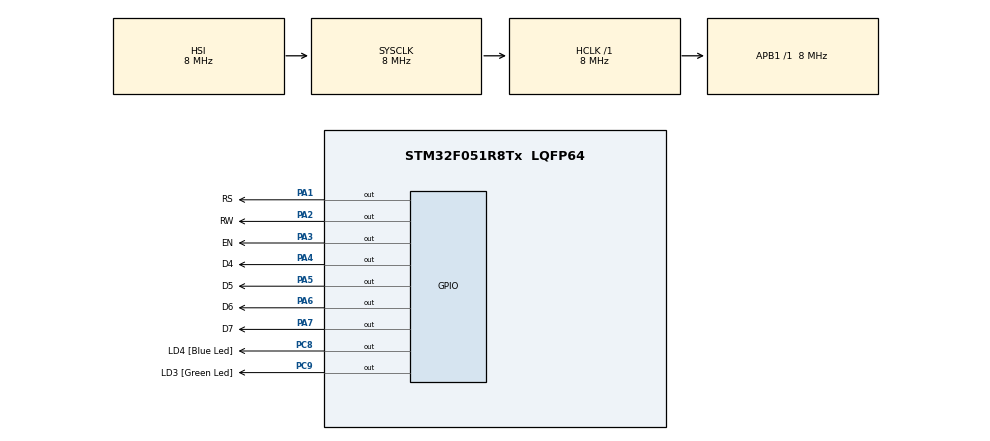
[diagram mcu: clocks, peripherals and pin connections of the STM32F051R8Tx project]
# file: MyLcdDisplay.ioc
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Mcu.Family=STM32F0
Mcu.Name=STM32F051R8Tx
Mcu.Package=LQFP64
PA1.GPIO_Label=RS
PA1.Signal=GPIO_Output
PA13.GPIO_Label=SWDIO
PA13.Signal=SYS_SWDIO
PA14.GPIO_Label=SWCLK
PA14.Signal=SYS_SWCLK
PA2.GPIO_Label=RW
PA2.Signal=GPIO_Output
PA3.GPIO_Label=EN
PA3.Signal=GPIO_Output
PA4.GPIO_Label=D4
PA4.Signal=GPIO_Output
PA5.GPIO_Label=D5
PA5.Signal=GPIO_Output
PA6.GPIO_Label=D6
PA6.Signal=GPIO_Output
PA7.GPIO_Label=D7
PA7.Signal=GPIO_Output
PC8.GPIO_Label=LD4 [Blue Led]
PC8.Signal=GPIO_Output
PC9.GPIO_Label=LD3 [Green Led]
PC9.Signal=GPIO_Output
ProjectManager.HeapSize=0x200
ProjectManager.StackSize=0x400
ProjectManager.TargetToolchain=STM32CubeIDE
RCC.AHBFreq_Value=8000000
RCC.APB1Freq_Value=8000000
RCC.APB1TimFreq_Value=8000000
RCC.HCLKFreq_Value=8000000
RCC.PLLMUL=RCC_PLL_MUL12
RCC.SYSCLKFreq_VALUE=8000000
TIM1.Prescaler=8000
VP_TIM1_VS_ClockSourceINT.Mode=Internal
board=STM32F0DISCOVERY

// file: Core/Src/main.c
/* USER CODE BEGIN Header */
/**
  ******************************************************************************
  * @file           : main.c
  * @brief          : Main program body
  ******************************************************************************
  * @attention
  *
  * <h2><center>&copy; Copyright (c) 2023 STMicroelectronics.
  * All rights reserved.</center></h2>
  *
  * This software component is licensed by ST under BSD 3-Clause license,
  * the "License"; You may not use this file except in compliance with the
  * License. You may obtain a copy of the License at:
  *                        opensource.org/licenses/BSD-3-Clause
  *
  ******************************************************************************
  */
/* USER CODE END Header */
#include "main.h"

/* USER CODE BEGIN PTD */
#define RS_PORT GPIOA
#define RS_PIN GPIO_PIN_1
#define RW_PORT GPIOA
#define RW_PIN GPIO_PIN_2
#define EN_PORT GPIOA
#define EN_PIN GPIO_PIN_3
#define D4_PORT GPIOA
#define D4_PIN GPIO_PIN_4
#define D5_PORT GPIOA
#define D5_PIN GPIO_PIN_5
#define D6_PORT GPIOA
#define D6_PIN GPIO_PIN_6
#define D7_PORT GPIOA
#define D7_PIN GPIO_PIN_7
/* USER CODE END PTD */

TIM_HandleTypeDef htim1;

void SystemClock_Config(void);
static void MX_GPIO_Init(void);
static void MX_TIM1_Init(void);
/* USER CODE BEGIN PFP */
#define timer htim1
extern TIM_HandleTypeDef timer;
void delay (uint16_t us)
{
  __HAL_TIM_SET_COUNTER(&timer, 0);
  while (__HAL_TIM_GET_COUNTER(&timer) < us);
}

void send_to_lcd (char data, int rs)
{
    HAL_GPIO_WritePin(RS_GPIO_Port, RS_Pin, rs);  // rs = 1 for data, rs=0 for command
    /* write the data to the respective pin */
    HAL_GPIO_WritePin(D7_GPIO_Port, D7_Pin, ((data>>3)&0x01));
    HAL_GPIO_WritePin(D6_GPIO_Port, D6_Pin, ((data>>2)&0x01));
    HAL_GPIO_WritePin(D5_GPIO_Port, D5_Pin, ((data>>1)&0x01));
    HAL_GPIO_WritePin(D4_GPIO_Port, D4_Pin, ((data>>0)&0x01));
    /* Toggle EN PIN to send the data
     * if the HCLK > 100 MHz, use the  20 us delay
     * if the LCD still doesn't work, increase the delay to 50, 80 or 100..
     */
    HAL_GPIO_WritePin(EN_GPIO_Port, EN_Pin, 1);
//  delay (20);
    HAL_GPIO_WritePin(EN_GPIO_Port, EN_Pin, 0);
//  delay (20);
}

void lcd_send_cmd (char cmd)
{
    char datatosend;
    /* send upper nibble first */
    datatosend = ((cmd>>4)&0x0f);
    send_to_lcd(datatosend,0);  // RS must be while sending command
    /* send Lower Nibble */
    datatosend = ((cmd)&0x0f);
    send_to_lcd(datatosend, 0);
}

void lcd_send_data (char data)
{
    char datatosend;

    /* send higher nibble */
    datatosend = ((data>>4)&0x0f);
    send_to_lcd(datatosend, 1);  // rs =1 for sending data
    /* send Lower nibble */
    datatosend = ((data)&0x0f);
    send_to_lcd(datatosend, 1);
}

void lcd_put_cur(int row, int col)
{
    switch (row)
    {
        case 0:
            col |= 0x80;
            break;
        case 1:
            col |= 0xC0;
            break;
    }
    lcd_send_cmd (col);
}

void lcd_init (void)
{
    // 4 bit initialisation
    HAL_Delay(50);  // wait for >40ms
    lcd_send_cmd (0x30);
    HAL_Delay(5);  // wait for >4.1ms
    lcd_send_cmd (0x30);
    HAL_Delay(1);  // wait for >100us
    lcd_send_cmd (0x30);
    HAL_Delay(10);
    lcd_send_cmd (0x20);  // 4bit mode
    HAL_Delay(10);

  // dislay initialisation
    lcd_send_cmd (0x28); // Function set --> DL=0 (4 bit mode), N = 1 (2 line display) F = 0 (5x8 characters)
    HAL_Delay(1);
    lcd_send_cmd (0x08); //Display on/off control --> D=0,C=0, B=0  ---> display off
    HAL_Delay(1);
    lcd_send_cmd (0x01);  // clear display
    HAL_Delay(1);
    HAL_Delay(1);
    lcd_send_cmd (0x06); //Entry mode set --> I/D = 1 (increment cursor) & S = 0 (no shift)
    HAL_Delay(1);
    lcd_send_cmd (0x0C); //Display on/off control --> D = 1, C and B = 0. (Cursor and blink, last two bits)
}
/* USER CODE END PFP */

int main(void)
{

  /* MCU Configuration--------------------------------------------------------*/

  /* Reset of all peripherals, Initializes the Flash interface and the Systick. */
  HAL_Init();

  /* USER CODE BEGIN Init */
  lcd_init();
   lcd_put_cur(0, 0);
   lcd_send_data('a');
//   lcd_send_string("HELLO ");
//   lcd_send_string("WORLD ");
//   lcd_send_string("FROM");
   HAL_Delay(1000);
   lcd_put_cur(1, 0);
//   lcd_send_string("CONTROLLERSTECH");
   HAL_Delay(2000);
//   lcd_clear();
  /* USER CODE END Init */

  /* Configure the system clock */
  SystemClock_Config();

  /* Initialize all configured peripherals */
  MX_GPIO_Init();
  MX_TIM1_Init();

  /* Infinite loop */
  while (1)
  {

  }
}

void SystemClock_Config(void)
{
  RCC_OscInitTypeDef RCC_OscInitStruct = {0};
  RCC_ClkInitTypeDef RCC_ClkInitStruct = {0};

  /** Initializes the RCC Oscillators according to the specified parameters
  * in the RCC_OscInitTypeDef structure.
  */
  RCC_OscInitStruct.OscillatorType = RCC_OSCILLATORTYPE_HSI;
  RCC_OscInitStruct.HSIState = RCC_HSI_ON;
  RCC_OscInitStruct.HSICalibrationValue = RCC_HSICALIBRATION_DEFAULT;
  RCC_OscInitStruct.PLL.PLLState = RCC_PLL_NONE;
  if (HAL_RCC_OscConfig(&RCC_OscInitStruct) != HAL_OK)
  {
    Error_Handler();
  }
  /** Initializes the CPU, AHB and APB buses clocks
  */
  RCC_ClkInitStruct.ClockType = RCC_CLOCKTYPE_HCLK|RCC_CLOCKTYPE_SYSCLK
                              |RCC_CLOCKTYPE_PCLK1;
  RCC_ClkInitStruct.SYSCLKSource = RCC_SYSCLKSOURCE_HSI;
  RCC_ClkInitStruct.AHBCLKDivider = RCC_SYSCLK_DIV1;
  RCC_ClkInitStruct.APB1CLKDivider = RCC_HCLK_DIV1;

  if (HAL_RCC_ClockConfig(&RCC_ClkInitStruct, FLASH_LATENCY_0) != HAL_OK)
  {
    Error_Handler();
  }
}

static void MX_TIM1_Init(void)
{

  TIM_ClockConfigTypeDef sClockSourceConfig = {0};
  TIM_MasterConfigTypeDef sMasterConfig = {0};

  htim1.Instance = TIM1;
  htim1.Init.Prescaler = 8000;
  htim1.Init.CounterMode = TIM_COUNTERMODE_UP;
  htim1.Init.Period = 65535;
  htim1.Init.ClockDivision = TIM_CLOCKDIVISION_DIV1;
  htim1.Init.RepetitionCounter = 0;
  htim1.Init.AutoReloadPreload = TIM_AUTORELOAD_PRELOAD_DISABLE;
  if (HAL_TIM_Base_Init(&htim1) != HAL_OK)
  {
    Error_Handler();
  }
  sClockSourceConfig.ClockSource = TIM_CLOCKSOURCE_INTERNAL;
  if (HAL_TIM_ConfigClockSource(&htim1, &sClockSourceConfig) != HAL_OK)
  {
    Error_Handler();
  }
  sMasterConfig.MasterOutputTrigger = TIM_TRGO_RESET;
  sMasterConfig.MasterSlaveMode = TIM_MASTERSLAVEMODE_DISABLE;
  if (HAL_TIMEx_MasterConfigSynchronization(&htim1, &sMasterConfig) != HAL_OK)
  {
    Error_Handler();
  }

}

static void MX_GPIO_Init(void)
{
  GPIO_InitTypeDef GPIO_InitStruct = {0};

  /* GPIO Ports Clock Enable */
  __HAL_RCC_GPIOA_CLK_ENABLE();
  __HAL_RCC_GPIOC_CLK_ENABLE();

  /*Configure GPIO pin Output Level */
  HAL_GPIO_WritePin(GPIOA, RS_Pin|RW_Pin|EN_Pin|D4_Pin
                          |D5_Pin|D6_Pin|D7_Pin, GPIO_PIN_RESET);

  /*Configure GPIO pin Output Level */
  HAL_GPIO_WritePin(GPIOC, LD4_Pin|LD3_Pin, GPIO_PIN_RESET);

  /*Configure GPIO pins : RS_Pin RW_Pin EN_Pin D4_Pin
                           D5_Pin D6_Pin D7_Pin */
  GPIO_InitStruct.Pin = RS_Pin|RW_Pin|EN_Pin|D4_Pin
                          |D5_Pin|D6_Pin|D7_Pin;
  GPIO_InitStruct.Mode = GPIO_MODE_OUTPUT_PP;
  GPIO_InitStruct.Pull = GPIO_NOPULL;
  GPIO_InitStruct.Speed = GPIO_SPEED_FREQ_LOW;
  HAL_GPIO_Init(GPIOA, &GPIO_InitStruct);

  /*Configure GPIO pins : LD4_Pin LD3_Pin */
  GPIO_InitStruct.Pin = LD4_Pin|LD3_Pin;
  GPIO_InitStruct.Mode = GPIO_MODE_OUTPUT_PP;
  GPIO_InitStruct.Pull = GPIO_NOPULL;
  GPIO_InitStruct.Speed = GPIO_SPEED_FREQ_LOW;
  HAL_GPIO_Init(GPIOC, &GPIO_InitStruct);

}

void Error_Handler(void)
{
  __disable_irq();
  while (1)
  {
  }
}

/************************ (C) COPYRIGHT STMicroelectronics *****END OF FILE****/
